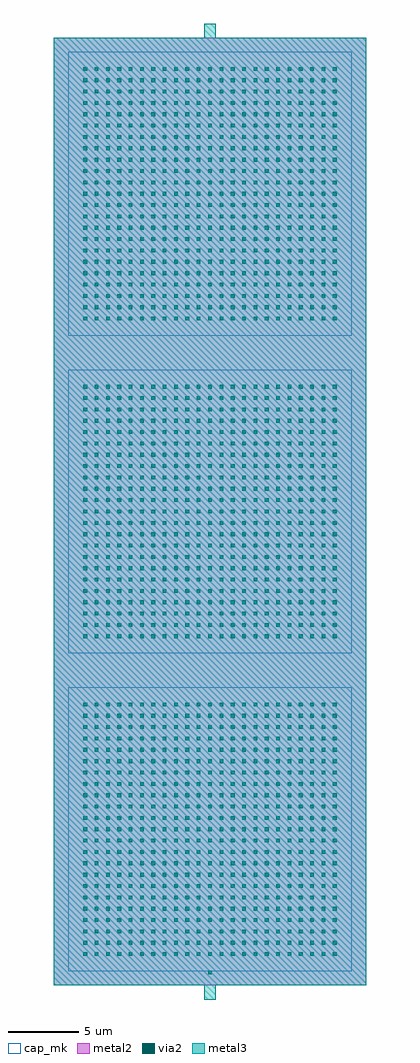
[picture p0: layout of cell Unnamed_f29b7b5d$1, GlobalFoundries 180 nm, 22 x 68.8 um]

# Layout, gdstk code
import gdstk
lib = gdstk.Library(unit=1e-6, precision=5e-09)
def R(c, l, rs):  # rectangles x0, y0, x1, y1
    for r in rs: c.add(gdstk.rectangle(r[:2], r[2:], *l))
def A(c, l, x, y, w, h, nx, ny, dx, dy):  # array of equal rectangles
    R(c, l, [(x+i*dx, y+j*dy, x+i*dx+w, y+j*dy+h) for i in range(nx) for j in range(ny)])
metal2 = (36, 0)
via2 = (38, 0)
metal3 = (42, 0)
cap_mk = (117, 5)

unnamed_f29b7b5d_1 = lib.new_cell('Unnamed_f29b7b5d$1')
A(unnamed_f29b7b5d_1, metal2, -10.6, -33, 21.2, 21.2, 1, 3, 0, 22.4)
R(unnamed_f29b7b5d_1, metal2, [(-11,-33.4,11,33.4), (-0.25,-32.75,0.25,-32.25), (-0.14,-11.8,0.14,-10.6), (-0.14,10.6,0.14,11.8)])
A(unnamed_f29b7b5d_1, via2, -8.93, -31.33, 0.26, 0.26, 23, 23, 0.8, 0.8)
A(unnamed_f29b7b5d_1, via2, -8.93, -8.93, 0.26, 0.26, 23, 23, 0.8, 0.8)
A(unnamed_f29b7b5d_1, via2, -8.93, 13.47, 0.26, 0.26, 23, 23, 0.8, 0.8)
R(unnamed_f29b7b5d_1, via2, [(-0.13,-32.63,0.13,-32.37)])
A(unnamed_f29b7b5d_1, metal3, -10, -32.4, 20, 20, 1, 3, 0, 22.4)
A(unnamed_f29b7b5d_1, metal3, -9.05, -31.45, 0.5, 0.5, 23, 23, 0.8, 0.8)
A(unnamed_f29b7b5d_1, metal3, -9.05, -9.05, 0.5, 0.5, 23, 23, 0.8, 0.8)
A(unnamed_f29b7b5d_1, metal3, -9.05, 13.35, 0.5, 0.5, 23, 23, 0.8, 0.8)
R(unnamed_f29b7b5d_1, metal3, [(-0.4,-34.4,0.4,-32.5), (-11,-33.4,11,33.4), (-0.25,-32.75,0.25,-32.25), (-0.4,-12.4,0.4,34.4), (-0.14,-12.4,0.14,-10), (-0.14,10,0.14,12.4)])
A(unnamed_f29b7b5d_1, cap_mk, -10, -32.4, 20, 20, 1, 3, 0, 22.4)

lib.write_gds('Unnamed_f29b7b5d_1.gds')
